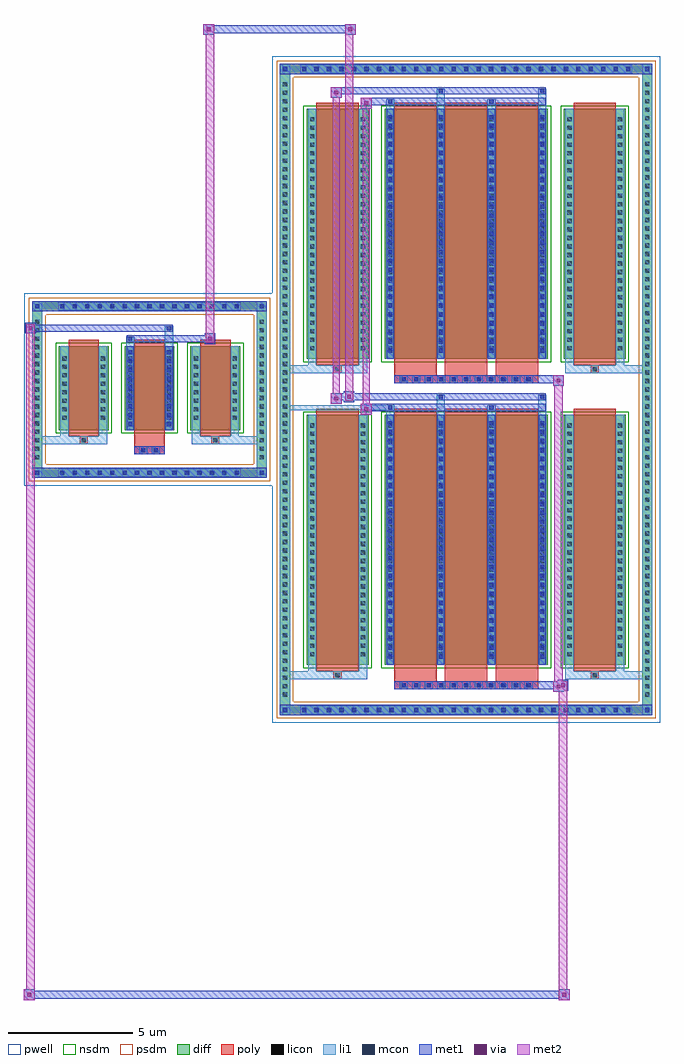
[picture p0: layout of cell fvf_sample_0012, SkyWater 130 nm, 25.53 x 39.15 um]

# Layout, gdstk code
import gdstk
lib = gdstk.Library(unit=1e-6, precision=1e-09)
def R(c, l, rs):  # rectangles x0, y0, x1, y1
    for r in rs: c.add(gdstk.rectangle(r[:2], r[2:], *l))
def A(c, l, x, y, w, h, nx, ny, dx, dy):  # array of equal rectangles
    R(c, l, [(x+i*dx, y+j*dy, x+i*dx+w, y+j*dy+h) for i in range(nx) for j in range(ny)])
def P(c, l, *ps):  # polygons
    for p in ps: c.add(gdstk.Polygon(p, *l))
pwell = (64, 44)
diff = (65, 20)
poly = (66, 20)
licon = (66, 44)
li1 = (67, 20)
mcon = (67, 44)
met1 = (68, 20)
via = (68, 44)
met2 = (69, 20)
nsdm = (93, 44)
psdm = (94, 20)

fvf_sample_0012 = lib.new_cell('fvf_sample_0012')
R(fvf_sample_0012, pwell, [(4.92,-13.376,20.482,13.376), (-5.02,-3.858,5.02,3.858)])
A(fvf_sample_0012, diff, 5.996, -13.066, 0.41, 0.41, 27, 2, 0.5, 25.722)
A(fvf_sample_0012, diff, 5.23, -12.445, 0.41, 0.41, 1, 73, 0, 0.34)
A(fvf_sample_0012, diff, 19.762, -12.445, 0.41, 0.41, 1, 73, 0, 0.34)
A(fvf_sample_0012, diff, -3.705, -3.548, 0.41, 0.41, 15, 2, 0.5, 6.686)
A(fvf_sample_0012, diff, -4.71, -2.925, 0.41, 0.41, 1, 17, 0, 0.34)
A(fvf_sample_0012, diff, 4.3, -2.925, 0.41, 0.41, 1, 17, 0, 0.34)
A(fvf_sample_0012, diff, -3.64, -1.626, 2, 3.368, 3, 1, 2.64, 0)
R(fvf_sample_0012, diff, [(5.996,-13.066,19.406,-12.656), (5.23,-12.445,5.64,12.445), (19.762,-12.445,20.172,12.445), (6.301,-11.045,8.785,-1.015), (9.425,-11.045,15.977,-1.015), (16.617,-11.045,19.101,-1.015), (-3.705,-3.548,3.705,-3.138), (-4.71,-2.925,-4.3,2.925), (4.3,-2.925,4.71,2.925), (6.301,1.231,8.785,11.261), (9.425,1.231,15.977,11.261), (16.617,1.231,19.101,11.261), (-3.705,3.138,3.705,3.548), (5.996,12.656,19.406,13.066)])
P(fvf_sample_0012, diff, [(4.71,3.548),(-4.71,3.548),(-4.71,-3.138),(-4.3,-3.138),(-4.3,3.138),(4.3,3.138),(4.3,-3.138),(-4.3,-3.138),(-4.71,-3.138),(-4.71,-3.548),(4.71,-3.548)],
  [(20.172,13.066),(5.23,13.066),(5.23,-12.656),(5.64,-12.656),(5.64,12.656),(19.762,12.656),(19.762,-12.656),(5.64,-12.656),(5.23,-12.656),(5.23,-13.066),(20.172,-13.066)])
A(fvf_sample_0012, poly, 10.036, -12.026, 0.33, 0.33, 11, 2, 0.5, 12.276)
A(fvf_sample_0012, poly, 9.815, -11.696, 1.704, 0.401, 3, 2, 2.034, 12.276)
A(fvf_sample_0012, poly, 9.815, -11.295, 1.704, 10.53, 3, 2, 2.034, 12.276)
A(fvf_sample_0012, poly, -3.25, -1.876, 1.22, 3.868, 3, 1, 2.64, 0)
R(fvf_sample_0012, poly, [(9.815,-12.026,15.587,-11.696), (7.378,-11.625,7.708,-11.295), (7.378,-11.625,7.708,-11.295), (17.694,-11.625,18.024,-11.295), (17.694,-11.625,18.024,-11.295), (6.691,-11.295,8.395,-0.765), (17.007,-11.295,18.711,-0.765), (-0.61,-2.606,0.61,-2.276), (-0.415,-2.606,-0.085,-2.276), (0.085,-2.606,0.415,-2.276), (-0.61,-2.276,0.61,-1.876), (-2.805,-2.206,-2.475,-1.876), (-2.805,-2.206,-2.475,-1.876), (2.475,-2.206,2.805,-1.876), (2.475,-2.206,2.805,-1.876), (9.815,0.25,15.587,0.58), (7.378,0.651,7.708,0.981), (7.378,0.651,7.708,0.981), (17.694,0.651,18.024,0.981), (17.694,0.651,18.024,0.981), (6.691,0.981,8.395,11.511), (17.007,0.981,18.711,11.511)])
A(fvf_sample_0012, licon, 6.116, -12.946, 0.17, 0.17, 27, 2, 0.5, 25.722)
A(fvf_sample_0012, licon, 5.35, -12.325, 0.17, 0.17, 1, 73, 0, 0.34)
A(fvf_sample_0012, licon, 19.882, -12.325, 0.17, 0.17, 1, 73, 0, 0.34)
A(fvf_sample_0012, licon, 10.116, -11.946, 0.17, 0.17, 11, 2, 0.5, 12.276)
A(fvf_sample_0012, licon, 6.441, -10.705, 0.17, 0.17, 1, 28, 0, 0.34)
A(fvf_sample_0012, licon, 8.475, -10.705, 0.17, 0.17, 1, 28, 0, 0.34)
A(fvf_sample_0012, licon, 9.565, -10.705, 0.17, 0.17, 4, 28, 2.034, 0.34)
A(fvf_sample_0012, licon, 16.757, -10.705, 0.17, 0.17, 1, 28, 0, 0.34)
A(fvf_sample_0012, licon, 18.791, -10.705, 0.17, 0.17, 1, 28, 0, 0.34)
A(fvf_sample_0012, licon, -3.585, -3.428, 0.17, 0.17, 15, 2, 0.5, 6.686)
A(fvf_sample_0012, licon, -4.59, -2.805, 0.17, 0.17, 1, 17, 0, 0.34)
A(fvf_sample_0012, licon, 4.42, -2.805, 0.17, 0.17, 1, 17, 0, 0.34)
A(fvf_sample_0012, licon, -3.5, -1.217, 0.17, 0.17, 1, 8, 0, 0.34)
A(fvf_sample_0012, licon, -1.95, -1.217, 0.17, 0.17, 1, 8, 0, 0.34)
A(fvf_sample_0012, licon, -0.86, -1.217, 0.17, 0.17, 1, 8, 0, 0.34)
A(fvf_sample_0012, licon, 0.69, -1.217, 0.17, 0.17, 1, 8, 0, 0.34)
A(fvf_sample_0012, licon, 1.78, -1.217, 0.17, 0.17, 1, 8, 0, 0.34)
A(fvf_sample_0012, licon, 3.33, -1.217, 0.17, 0.17, 1, 8, 0, 0.34)
A(fvf_sample_0012, licon, 6.441, 1.571, 0.17, 0.17, 1, 28, 0, 0.34)
A(fvf_sample_0012, licon, 8.475, 1.571, 0.17, 0.17, 1, 28, 0, 0.34)
A(fvf_sample_0012, licon, 9.565, 1.571, 0.17, 0.17, 4, 28, 2.034, 0.34)
A(fvf_sample_0012, licon, 16.757, 1.571, 0.17, 0.17, 1, 28, 0, 0.34)
A(fvf_sample_0012, licon, 18.791, 1.571, 0.17, 0.17, 1, 28, 0, 0.34)
R(fvf_sample_0012, licon, [(7.458,-11.545,7.628,-11.375), (17.774,-11.545,17.944,-11.375), (-0.335,-2.526,-0.165,-2.356), (0.165,-2.526,0.335,-2.356), (-2.725,-2.126,-2.555,-1.956), (2.555,-2.126,2.725,-1.956), (7.458,0.731,7.628,0.901), (17.774,0.731,17.944,0.901)])
A(fvf_sample_0012, li1, 6.036, -13.026, 0.33, 0.33, 27, 2, 0.5, 25.722)
A(fvf_sample_0012, li1, 5.27, -12.405, 0.33, 0.33, 1, 73, 0, 0.34)
A(fvf_sample_0012, li1, 19.802, -12.405, 0.33, 0.33, 1, 73, 0, 0.34)
A(fvf_sample_0012, li1, 10.036, -12.026, 0.33, 0.33, 11, 2, 0.5, 12.276)
A(fvf_sample_0012, li1, 9.485, -11.045, 0.33, 10.03, 4, 2, 2.034, 12.276)
A(fvf_sample_0012, li1, 9.565, -10.795, 0.17, 0.17, 4, 27, 2.034, 0.36)
A(fvf_sample_0012, li1, 9.565, -10.795, 0.17, 9.53, 4, 2, 2.034, 12.276)
A(fvf_sample_0012, li1, 6.361, -10.785, 0.33, 0.33, 1, 28, 0, 0.34)
A(fvf_sample_0012, li1, 8.395, -10.785, 0.33, 0.33, 1, 28, 0, 0.34)
A(fvf_sample_0012, li1, 9.485, -10.785, 0.33, 0.33, 4, 28, 2.034, 0.34)
A(fvf_sample_0012, li1, 16.677, -10.785, 0.33, 0.33, 1, 28, 0, 0.34)
A(fvf_sample_0012, li1, 18.711, -10.785, 0.33, 0.33, 1, 28, 0, 0.34)
A(fvf_sample_0012, li1, -3.665, -3.508, 0.33, 0.33, 15, 2, 0.5, 6.686)
A(fvf_sample_0012, li1, -4.67, -2.885, 0.33, 0.33, 1, 17, 0, 0.34)
A(fvf_sample_0012, li1, 4.34, -2.885, 0.33, 0.33, 1, 17, 0, 0.34)
A(fvf_sample_0012, li1, -0.86, -1.467, 0.17, 0.17, 1, 9, 0, 0.36)
A(fvf_sample_0012, li1, 0.69, -1.467, 0.17, 0.17, 1, 9, 0, 0.36)
A(fvf_sample_0012, li1, -3.58, -1.297, 0.33, 0.33, 1, 8, 0, 0.34)
A(fvf_sample_0012, li1, -2.03, -1.297, 0.33, 0.33, 1, 8, 0, 0.34)
A(fvf_sample_0012, li1, -0.94, -1.297, 0.33, 0.33, 1, 8, 0, 0.34)
A(fvf_sample_0012, li1, 0.61, -1.297, 0.33, 0.33, 1, 8, 0, 0.34)
A(fvf_sample_0012, li1, 1.7, -1.297, 0.33, 0.33, 1, 8, 0, 0.34)
A(fvf_sample_0012, li1, 3.25, -1.297, 0.33, 0.33, 1, 8, 0, 0.34)
A(fvf_sample_0012, li1, 9.565, 1.481, 0.17, 0.17, 4, 27, 2.034, 0.36)
A(fvf_sample_0012, li1, 6.361, 1.491, 0.33, 0.33, 1, 28, 0, 0.34)
A(fvf_sample_0012, li1, 8.395, 1.491, 0.33, 0.33, 1, 28, 0, 0.34)
A(fvf_sample_0012, li1, 9.485, 1.491, 0.33, 0.33, 4, 28, 2.034, 0.34)
A(fvf_sample_0012, li1, 16.677, 1.491, 0.33, 0.33, 1, 28, 0, 0.34)
A(fvf_sample_0012, li1, 18.711, 1.491, 0.33, 0.33, 1, 28, 0, 0.34)
R(fvf_sample_0012, li1, [(5.23,-13.066,5.64,-12.656), (19.762,-13.066,20.172,-12.656), (6.036,-13.026,19.366,-12.696), (5.35,-12.946,5.52,-12.776), (5.35,-12.946,5.52,-12.776), (19.882,-12.946,20.052,-12.776), (19.882,-12.946,20.052,-12.776), (5.23,-12.656,5.64,12.656), (19.762,-12.656,20.172,12.656), (5.23,-11.625,7.378,-11.295), (6.361,-11.625,6.691,-11.045), (6.361,-11.625,7.378,-11.295), (7.378,-11.625,7.708,-11.295), (7.708,-11.625,8.725,-11.295), (8.395,-11.625,8.725,-11.045), (16.677,-11.625,17.007,-11.045), (16.677,-11.625,17.694,-11.295), (17.694,-11.625,18.024,-11.295), (17.694,-11.625,20.172,-11.295), (18.024,-11.625,19.041,-11.295), (18.711,-11.625,19.041,-11.045), (6.361,-11.045,6.691,-1.015), (8.395,-11.045,8.725,-1.015), (16.677,-11.045,17.007,-1.015), (18.711,-11.045,19.041,-1.015), (-4.71,-3.548,-4.3,-3.138), (4.3,-3.548,4.71,-3.138), (-3.665,-3.508,3.665,-3.178), (-4.59,-3.428,-4.42,-3.258), (-4.59,-3.428,-4.42,-3.258), (4.42,-3.428,4.59,-3.258), (4.42,-3.428,4.59,-3.258), (-4.71,-3.138,-4.3,3.138), (4.3,-3.138,4.71,3.138), (-0.415,-2.606,-0.085,-2.276), (0.085,-2.606,0.415,-2.276), (-4.71,-2.206,-2.805,-1.876), (-3.58,-2.206,-2.805,-1.876), (-3.58,-2.206,-3.25,-1.626), (-2.805,-2.206,-2.475,-1.876), (-2.475,-2.206,-1.7,-1.876), (-2.03,-2.206,-1.7,-1.626), (1.7,-2.206,2.475,-1.876), (1.7,-2.206,2.03,-1.626), (2.475,-2.206,2.805,-1.876), (2.475,-2.206,4.71,-1.876), (2.805,-2.206,3.58,-1.876), (3.25,-2.206,3.58,-1.626), (-3.58,-1.626,-3.25,1.742), (-2.03,-1.626,-1.7,1.742), (-0.94,-1.626,-0.61,1.742), (0.61,-1.626,0.94,1.742), (1.7,-1.626,2.03,1.742), (3.25,-1.626,3.58,1.742), (-0.86,-1.467,-0.69,1.583), (0.69,-1.467,0.86,1.583), (9.485,-1.015,9.815,-0.64), (11.519,-1.015,11.849,-0.21), (13.553,-1.015,13.883,-0.64), (15.587,-1.015,15.917,-0.21), (9.505,-0.87,9.795,-0.58), (5.23,-0.825,9.505,-0.625), (9.565,-0.81,9.735,-0.64), (9.565,-0.81,9.735,-0.64), (13.633,-0.81,13.803,-0.64), (11.599,-0.38,11.769,-0.21), (15.667,-0.38,15.837,-0.21), (5.23,0.651,7.378,0.981), (6.361,0.651,6.691,1.231), (6.361,0.651,7.378,0.981), (7.378,0.651,7.708,0.981), (7.708,0.651,8.725,0.981), (8.395,0.651,8.725,1.231), (16.677,0.651,17.007,1.231), (16.677,0.651,17.694,0.981), (17.694,0.651,18.024,0.981), (17.694,0.651,20.172,0.981), (18.024,0.651,19.041,0.981), (18.711,0.651,19.041,1.231), (6.361,1.231,6.691,11.261), (8.395,1.231,8.725,11.261), (16.677,1.231,17.007,11.261), (18.711,1.231,19.041,11.261), (-0.94,1.742,-0.61,2.117), (0.61,1.742,0.94,2.547), (-0.86,1.947,-0.69,2.117), (0.69,2.377,0.86,2.547), (-4.71,3.138,-4.3,3.548), (4.3,3.138,4.71,3.548), (-3.665,3.178,3.665,3.508), (-4.59,3.258,-4.42,3.428), (-4.59,3.258,-4.42,3.428), (4.42,3.258,4.59,3.428), (4.42,3.258,4.59,3.428), (9.485,11.261,9.815,11.636), (11.519,11.261,11.849,12.066), (13.553,11.261,13.883,11.636), (15.587,11.261,15.917,12.066), (9.565,11.466,9.735,11.636), (13.633,11.466,13.803,11.636), (11.599,11.896,11.769,12.066), (15.667,11.896,15.837,12.066), (5.23,12.656,5.64,13.066), (19.762,12.656,20.172,13.066), (6.036,12.696,19.366,13.026), (5.35,12.776,5.52,12.946), (5.35,12.776,5.52,12.946), (19.882,12.776,20.052,12.946), (19.882,12.776,20.052,12.946)])
A(fvf_sample_0012, mcon, 6.116, -12.946, 0.17, 0.17, 27, 2, 0.5, 25.722)
A(fvf_sample_0012, mcon, 10.116, -11.946, 0.17, 0.17, 11, 2, 0.5, 12.276)
A(fvf_sample_0012, mcon, 9.565, -10.795, 0.17, 0.17, 4, 27, 2.034, 0.36)
A(fvf_sample_0012, mcon, -3.585, -3.428, 0.17, 0.17, 15, 2, 0.5, 6.686)
A(fvf_sample_0012, mcon, -0.86, -1.467, 0.17, 0.17, 1, 9, 0, 0.36)
A(fvf_sample_0012, mcon, 0.69, -1.467, 0.17, 0.17, 1, 9, 0, 0.36)
A(fvf_sample_0012, mcon, 9.565, 1.481, 0.17, 0.17, 4, 27, 2.034, 0.36)
R(fvf_sample_0012, mcon, [(5.35,-12.946,5.52,-12.776), (19.882,-12.946,20.052,-12.776), (-4.59,-3.428,-4.42,-3.258), (4.42,-3.428,4.59,-3.258), (-0.335,-2.526,-0.165,-2.356), (0.165,-2.526,0.335,-2.356), (9.565,-0.81,9.735,-0.64), (9.565,-0.81,9.735,-0.64), (13.633,-0.81,13.803,-0.64), (11.599,-0.38,11.769,-0.21), (15.667,-0.38,15.837,-0.21), (-0.86,1.947,-0.69,2.117), (0.69,2.377,0.86,2.547), (-4.59,3.258,-4.42,3.428), (4.42,3.258,4.59,3.428), (9.565,11.466,9.735,11.636), (13.633,11.466,13.803,11.636), (11.599,11.896,11.769,12.066), (15.667,11.896,15.837,12.066), (5.35,12.776,5.52,12.946), (19.882,12.776,20.052,12.946)])
A(fvf_sample_0012, met1, 6.056, -13.006, 0.29, 0.29, 27, 2, 0.5, 25.722)
A(fvf_sample_0012, met1, 10.056, -12.006, 0.29, 0.29, 11, 2, 0.5, 12.276)
A(fvf_sample_0012, met1, 9.505, -11.045, 0.29, 10.03, 4, 2, 2.034, 12.276)
A(fvf_sample_0012, met1, 9.505, -10.855, 0.29, 0.29, 4, 27, 2.034, 0.36)
A(fvf_sample_0012, met1, -3.645, -3.488, 0.29, 0.29, 15, 2, 0.5, 6.686)
A(fvf_sample_0012, met1, -0.92, -1.527, 0.29, 0.29, 1, 9, 0, 0.36)
A(fvf_sample_0012, met1, 0.63, -1.527, 0.29, 0.29, 1, 9, 0, 0.36)
A(fvf_sample_0012, met1, 9.505, 1.421, 0.29, 0.29, 4, 27, 2.034, 0.36)
R(fvf_sample_0012, met1, [(-5.043,-24.491,-4.613,-24.061), (16.422,-24.491,16.852,-24.061), (-5.043,-24.441,16.852,-24.111), (-5.043,-24.111,-4.613,-24.061), (16.422,-24.111,16.852,-24.061), (5.23,-13.066,5.64,-12.656), (5.23,-13.066,5.64,-12.656), (5.64,-13.066,19.762,-12.656), (19.762,-13.066,20.172,-12.656), (19.762,-13.066,20.172,-12.656), (5.29,-13.006,5.58,-12.716), (19.822,-13.006,20.112,-12.716), (16.187,-12.126,16.617,-11.696), (16.372,-12.076,16.802,-11.646), (9.815,-12.026,15.587,-11.696), (15.587,-12.026,16.372,-11.696), (15.587,-12.026,16.617,-11.696), (-4.71,-3.548,-4.3,-3.138), (-4.71,-3.548,-4.3,-3.138), (-4.3,-3.548,4.3,-3.138), (4.3,-3.548,4.71,-3.138), (4.3,-3.548,4.71,-3.138), (-4.65,-3.488,-4.36,-3.198), (4.36,-3.488,4.65,-3.198), (-0.61,-2.606,0.61,-2.276), (-0.395,-2.586,-0.105,-2.296), (0.105,-2.586,0.395,-2.296), (-0.92,-1.626,-0.63,1.742), (0.63,-1.626,0.92,1.742), (8.475,-1.01,8.905,-0.58), (8.475,-0.87,9.505,-0.58), (9.505,-0.87,9.795,-0.58), (9.505,-0.87,9.795,-0.58), (9.505,-0.87,15.897,-0.58), (13.573,-0.87,13.863,-0.58), (7.275,-0.58,7.705,-0.15), (7.79,-0.51,8.22,-0.08), (7.275,-0.44,9.505,-0.15), (8.22,-0.44,9.505,-0.15), (9.505,-0.44,15.897,-0.15), (11.539,-0.44,11.829,-0.15), (15.607,-0.44,15.897,-0.15), (16.187,0.15,16.617,0.58), (9.815,0.25,15.587,0.58), (15.587,0.25,16.617,0.58), (2.205,1.817,2.635,2.247), (-0.92,1.887,-0.63,2.177), (-0.92,1.887,0.92,2.177), (0.92,1.887,2.205,2.177), (-4.993,2.247,-4.563,2.677), (-4.563,2.317,-0.92,2.607), (-0.92,2.317,0.92,2.607), (0.63,2.317,0.92,2.607), (-4.71,3.138,-4.3,3.548), (-4.71,3.138,-4.3,3.548), (-4.3,3.138,4.3,3.548), (4.3,3.138,4.71,3.548), (4.3,3.138,4.71,3.548), (-4.65,3.198,-4.36,3.488), (4.36,3.198,4.65,3.488), (8.475,11.266,8.905,11.696), (8.475,11.406,9.505,11.696), (9.505,11.406,9.795,11.696), (9.505,11.406,15.897,11.696), (13.573,11.406,13.863,11.696), (7.275,11.696,7.705,12.126), (7.275,11.836,9.505,12.126), (9.505,11.836,15.897,12.126), (11.539,11.836,11.829,12.126), (15.607,11.836,15.897,12.126), (5.23,12.656,5.64,13.066), (5.23,12.656,5.64,13.066), (5.64,12.656,19.762,13.066), (19.762,12.656,20.172,13.066), (19.762,12.656,20.172,13.066), (5.29,12.716,5.58,13.006), (19.822,12.716,20.112,13.006), (2.155,14.232,2.585,14.662), (7.84,14.232,8.27,14.662), (2.155,14.282,8.27,14.612), (2.155,14.612,2.585,14.662), (7.84,14.612,8.27,14.662)])
R(fvf_sample_0012, via, [(-4.903,-24.351,-4.753,-24.201), (16.562,-24.351,16.712,-24.201), (16.327,-11.986,16.477,-11.836), (16.512,-11.936,16.662,-11.786), (8.615,-0.87,8.765,-0.72), (7.415,-0.44,7.565,-0.29), (7.93,-0.37,8.08,-0.22), (16.327,0.29,16.477,0.44), (2.345,1.957,2.495,2.107), (-4.853,2.387,-4.703,2.537), (8.615,11.406,8.765,11.556), (7.415,11.836,7.565,11.986), (2.295,14.372,2.445,14.522), (7.98,14.372,8.13,14.522)])
R(fvf_sample_0012, met2, [(-5.043,-24.491,-4.613,-24.061), (-4.943,-24.491,-4.613,2.297), (16.422,-24.491,16.852,-24.061), (16.422,-24.491,16.752,-12.026), (-4.993,-24.441,-4.663,-24.111), (16.472,-24.441,16.802,-24.111), (16.187,-12.126,16.617,-11.696), (16.237,-12.126,16.567,0.58), (16.567,-12.126,16.617,-11.696), (16.237,-12.076,16.567,-11.746), (16.422,-12.026,16.752,-11.696), (8.475,-1.01,8.905,-0.58), (8.545,-1.01,8.835,11.696), (8.835,-1.01,8.905,-0.58), (8.525,-0.96,8.855,-0.63), (7.275,-0.58,7.705,-0.15), (7.345,-0.58,7.635,12.126), (7.635,-0.58,7.705,-0.15), (7.325,-0.53,7.655,-0.2), (7.84,-0.46,8.17,-0.13), (7.84,-0.13,8.17,14.662), (16.187,0.15,16.617,0.58), (16.567,0.15,16.617,0.58), (16.237,0.2,16.567,0.53), (2.255,1.867,2.585,2.197), (2.255,2.197,2.585,14.662), (-4.943,2.297,-4.613,2.627), (8.475,11.266,8.905,11.696), (8.835,11.266,8.905,11.696), (8.525,11.316,8.855,11.646), (7.275,11.696,7.705,12.126), (7.635,11.696,7.705,12.126), (7.325,11.746,7.655,12.076), (2.155,14.232,2.585,14.662), (7.84,14.232,8.27,14.662), (2.205,14.282,2.535,14.612), (7.89,14.282,8.22,14.612)])
A(fvf_sample_0012, nsdm, -3.77, -1.756, 2.26, 3.628, 3, 1, 2.64, 0)
R(fvf_sample_0012, nsdm, [(6.171,-11.175,8.915,-0.885), (9.295,-11.175,16.107,-0.885), (16.487,-11.175,19.231,-0.885), (6.171,1.101,8.915,11.391), (9.295,1.101,16.107,11.391), (16.487,1.101,19.231,11.391)])
P(fvf_sample_0012, psdm, [(4.84,3.678),(-4.84,3.678),(-4.84,-3.008),(-4.17,-3.008),(-4.17,3.008),(4.17,3.008),(4.17,-3.008),(-4.17,-3.008),(-4.84,-3.008),(-4.84,-3.678),(4.84,-3.678)],
  [(20.302,13.196),(5.1,13.196),(5.1,-12.526),(5.77,-12.526),(5.77,12.526),(19.632,12.526),(19.632,-12.526),(5.77,-12.526),(5.1,-12.526),(5.1,-13.196),(20.302,-13.196)])

lib.write_gds('fvf_sample_0012.gds')
